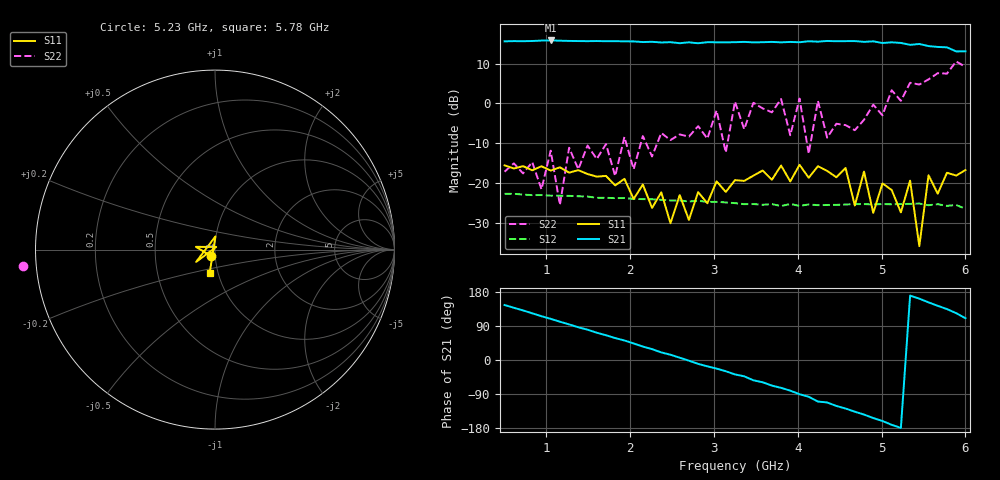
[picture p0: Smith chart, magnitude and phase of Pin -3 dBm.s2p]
! RsaToolbox (C) 2015 Rohde & Schwarz America
! Number of points: 51
! Number of ports: 2
! Balanced ports?: No
# Hz S RI R 50
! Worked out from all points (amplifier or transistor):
!   51 points, 500 MHz to 6 GHz, reference 50 ohm
!   highest |S21| = 15.8 dB at 1.05 GHz (marker M1)
!   |S21| within 3 dB of that: start of sweep to end of sweep
!   unconditionally stable (mu >= 1): start of sweep to 3.004 GHz; 3.046 GHz to 3.219 GHz; 4.287 GHz to 4.803 GHz (the widest 3 of 6)
!   at 1.38 GHz: K = 1.35, MAG = 15.9 dB, |S12| = -23.3 dB
!   at 3.25 GHz: K = 0.07, MSG = 20.2 dB, |S12| = -25.0 dB
!   at 6 GHz: K = -16.24, MSG = 19.8 dB, |S12| = -26.4 dB
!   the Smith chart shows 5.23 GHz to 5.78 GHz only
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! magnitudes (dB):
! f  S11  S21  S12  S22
! 500 MHz  -15.5  15.6  -22.7  -17.1
! 940 MHz  -15.8  15.8  -23.0  -21.6
! 1.05 GHz  -16.9  15.8  -23.2  -11.9
! 1.16 GHz  -16.1  15.7  -23.2  -25.5
! 1.27 GHz  -17.4  15.7  -23.2  -11.1
! 1.49 GHz  -17.7  15.6  -23.4  -10.6
! 1.82 GHz  -20.6  15.6  -23.8  -18.2
! 2.37 GHz  -22.3  15.3  -24.2  -7.4
! 2.7 GHz  -29.2  15.3  -24.6  -8.3
! 3.03 GHz  -19.6  15.3  -24.7  -1.8
! 3.14 GHz  -22.2  15.3  -24.9  -12.3
! 3.25 GHz  -19.3  15.4  -25.0  0.4
! 3.91 GHz  -19.6  15.4  -25.2  -8.0
! 4.02 GHz  -15.4  15.3  -25.7  1.2
! 4.13 GHz  -18.7  15.6  -25.4  -12.6
! 4.24 GHz  -15.8  15.5  -25.6  0.6
! 4.35 GHz  -17.0  15.7  -25.5  -8.6
! 5.12 GHz  -21.7  15.3  -25.3  3.3
! 5.34 GHz  -19.4  14.7  -25.2  5.2
! 5.45 GHz  -35.8  14.9  -25.1  4.7
! 5.56 GHz  -18.0  14.4  -25.6  6.0
! 6 GHz  -16.7  13.1  -26.4  9.2
